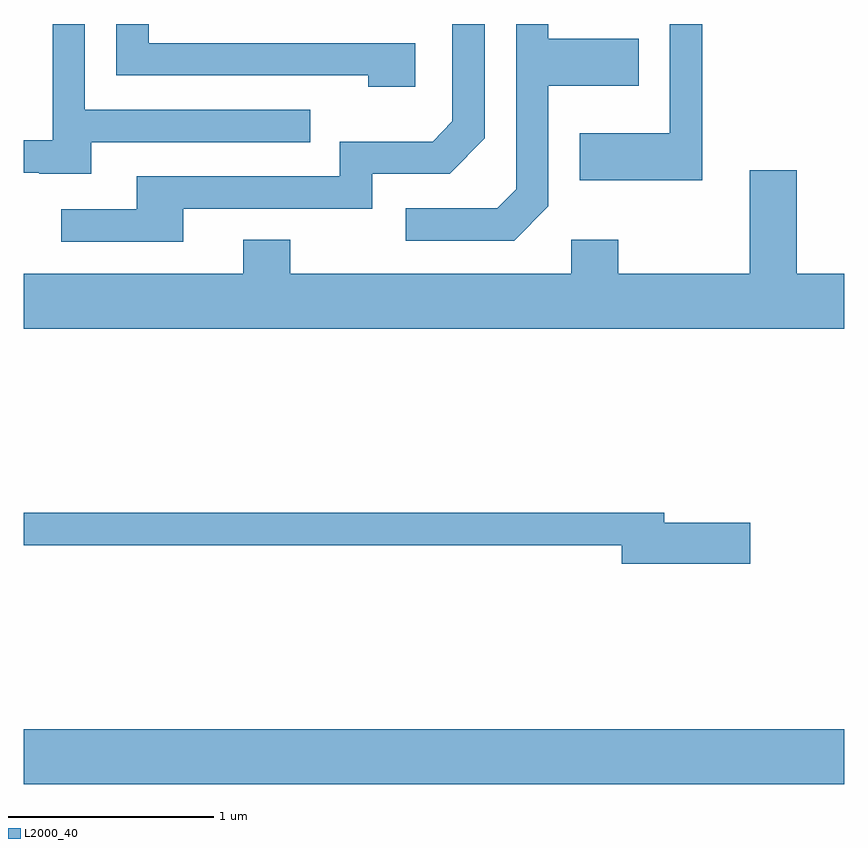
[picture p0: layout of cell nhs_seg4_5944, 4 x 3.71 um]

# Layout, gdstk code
import gdstk
lib = gdstk.Library(unit=1e-6, precision=1e-09)
def R(c, l, rs):  # rectangles x0, y0, x1, y1
    for r in rs: c.add(gdstk.rectangle(r[:2], r[2:], *l))
def P(c, l, *ps):  # polygons
    for p in ps: c.add(gdstk.Polygon(p, *l))
L2000_40 = (2000, 40)

nhs_seg4_5944 = lib.new_cell('nhs_seg4_5944')
R(nhs_seg4_5944, L2000_40, [(359.611,1310.276,363.611,1310.544)])
P(nhs_seg4_5944, L2000_40, [(361.519,1313.889),(360.219,1313.889),(360.219,1313.982),(360.061,1313.982),(360.061,1313.731),(361.291,1313.731),(361.291,1313.676),(361.519,1313.676)],
  [(362.169,1313.094),(362.169,1313.681),(362.609,1313.681),(362.609,1313.909),(362.169,1313.909),(362.169,1313.982),(362.011,1313.982),(362.011,1313.177),(361.919,1313.084),(361.473,1313.084),(361.473,1312.926),(362.002,1312.926)],
  [(360.389,1313.081),(361.309,1313.081),(361.309,1313.251),(361.687,1313.251),(361.859,1313.424),(361.859,1313.982),(361.701,1313.982),(361.701,1313.507),(361.604,1313.409),(361.151,1313.409),(361.151,1313.239),(360.161,1313.239),(360.161,1313.079),(359.793,1313.079),(359.793,1312.921),(360.389,1312.921)],
  [(359.939,1313.406),(361.008,1313.406),(361.008,1313.564),(359.909,1313.564),(359.909,1313.982),(359.751,1313.982),(359.751,1313.414),(359.611,1313.414),(359.611,1313.256),(359.685,1313.256),(359.685,1313.251),(359.939,1313.251)],
  [(362.919,1313.982),(362.761,1313.982),(362.761,1313.449),(362.321,1313.449),(362.321,1313.221),(362.919,1313.221)],
  [(363.611,1312.764),(363.379,1312.764),(363.379,1313.269),(363.151,1313.269),(363.151,1312.764),(362.509,1312.764),(362.509,1312.929),(362.281,1312.929),(362.281,1312.764),(360.909,1312.764),(360.909,1312.929),(360.681,1312.929),(360.681,1312.764),(359.611,1312.764),(359.611,1312.496),(363.611,1312.496)],
  [(363.154,1311.549),(362.734,1311.549),(362.734,1311.599),(359.611,1311.599),(359.611,1311.441),(362.526,1311.441),(362.526,1311.351),(363.154,1311.351)])

lib.write_gds('nhs_seg4_5944.gds')
